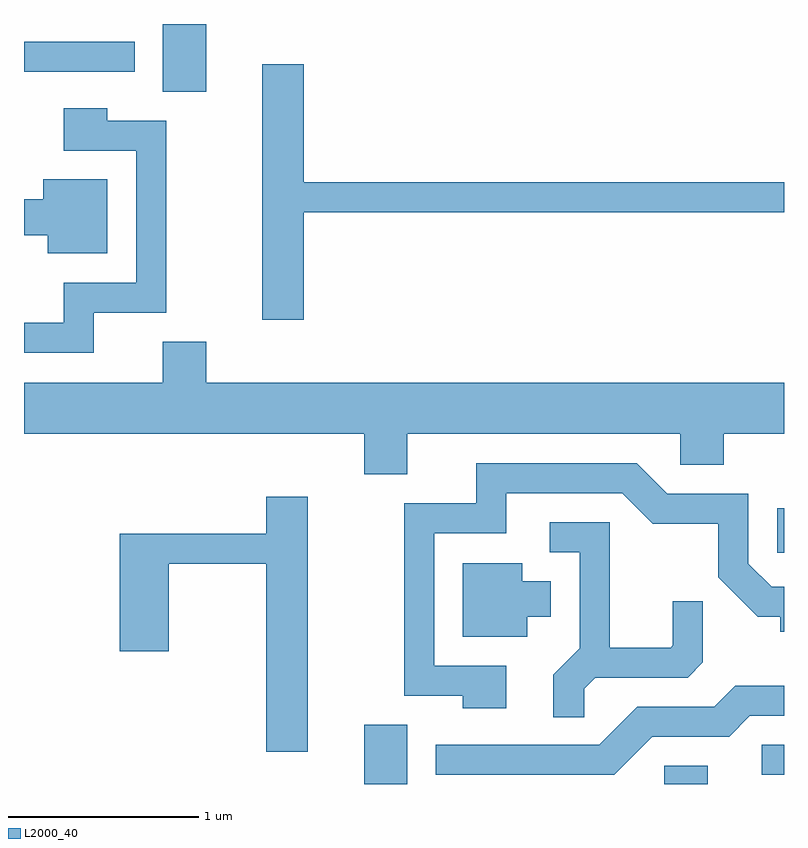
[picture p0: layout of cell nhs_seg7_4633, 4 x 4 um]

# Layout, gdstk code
import gdstk
lib = gdstk.Library(unit=1e-6, precision=1e-09)
def R(c, l, rs):  # rectangles x0, y0, x1, y1
    for r in rs: c.add(gdstk.rectangle(r[:2], r[2:], *l))
def P(c, l, *ps):  # polygons
    for p in ps: c.add(gdstk.Polygon(p, *l))
L2000_40 = (2000, 40)

nhs_seg7_4633 = lib.new_cell('nhs_seg7_4633')
R(nhs_seg7_4633, L2000_40, [(329.401,1710.252,329.629,1710.564), (330.981,1710.252,331.209,1710.349), (331.493,1710.301,331.611,1710.459), (331.576,1711.468,331.611,1711.704), (328.341,1713.896,328.569,1714.252), (327.611,1714.001,328.193,1714.159)])
P(nhs_seg7_4633, L2000_40, [(329.084,1713.261),(331.611,1713.261),(331.611,1713.419),(329.084,1713.419),(329.084,1714.039),(328.866,1714.039),(328.866,1712.696),(329.084,1712.696)],
  [(327.979,1712.731),(328.359,1712.731),(328.359,1713.744),(328.049,1713.744),(328.049,1713.809),(327.821,1713.809),(327.821,1713.586),(328.201,1713.586),(328.201,1712.889),(327.821,1712.889),(327.821,1712.679),(327.611,1712.679),(327.611,1712.521),(327.979,1712.521)],
  [(328.049,1713.434),(327.711,1713.434),(327.711,1713.329),(327.611,1713.329),(327.611,1713.141),(327.736,1713.141),(327.736,1713.046),(328.049,1713.046)],
  [(329.629,1712.096),(331.066,1712.096),(331.066,1711.931),(331.294,1711.931),(331.294,1712.096),(331.611,1712.096),(331.611,1712.364),(328.569,1712.364),(328.569,1712.579),(328.341,1712.579),(328.341,1712.364),(327.611,1712.364),(327.611,1712.096),(329.401,1712.096),(329.401,1711.881),(329.629,1711.881)],
  [(330.149,1710.874),(329.769,1710.874),(329.769,1711.571),(330.149,1711.571),(330.149,1711.781),(330.759,1711.781),(330.919,1711.621),(331.266,1711.621),(331.266,1711.339),(331.474,1711.131),(331.591,1711.131),(331.591,1711.053),(331.611,1711.053),(331.611,1711.289),(331.547,1711.289),(331.424,1711.412),(331.424,1711.779),(330.997,1711.779),(330.837,1711.939),(329.991,1711.939),(329.991,1711.729),(329.611,1711.729),(329.611,1710.716),(329.921,1710.716),(329.921,1710.651),(330.149,1710.651)],
  [(329.104,1711.764),(328.886,1711.764),(328.886,1711.569),(328.116,1711.569),(328.116,1710.951),(328.374,1710.951),(328.374,1711.411),(328.886,1711.411),(328.886,1710.421),(329.104,1710.421)],
  [(330.559,1710.754),(330.617,1710.811),(331.104,1710.811),(331.184,1710.892),(331.184,1711.213),(331.026,1711.213),(331.026,1710.982),(331.014,1710.969),(330.694,1710.969),(330.694,1711.629),(330.378,1711.629),(330.378,1711.471),(330.536,1711.471),(330.536,1710.967),(330.396,1710.827),(330.396,1710.603),(330.559,1710.603)],
  [(330.259,1711.131),(330.384,1711.131),(330.384,1711.319),(330.234,1711.319),(330.234,1711.414),(329.921,1711.414),(329.921,1711.026),(330.259,1711.026)],
  [(330.917,1710.501),(331.322,1710.501),(331.432,1710.611),(331.611,1710.611),(331.611,1710.769),(331.354,1710.769),(331.244,1710.659),(330.839,1710.659),(330.639,1710.459),(329.778,1710.459),(329.778,1710.301),(330.717,1710.301)])

lib.write_gds('nhs_seg7_4633.gds')
